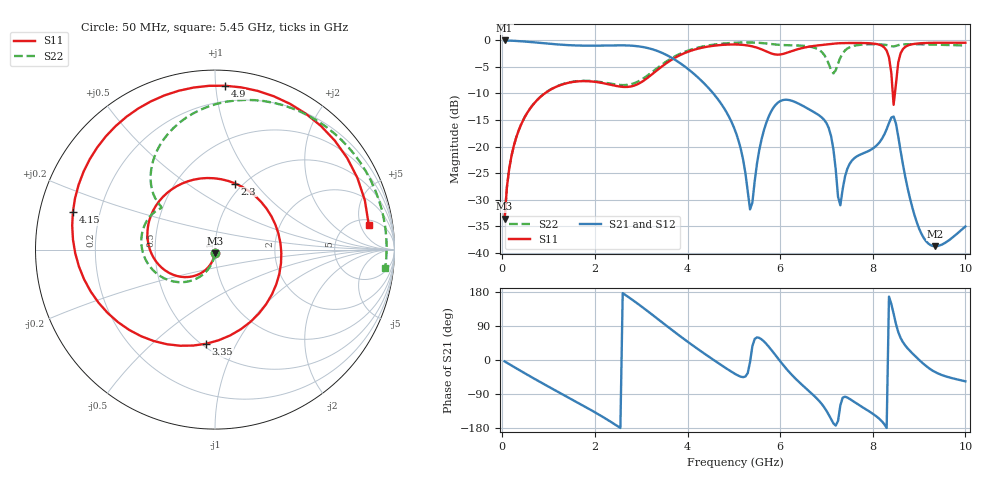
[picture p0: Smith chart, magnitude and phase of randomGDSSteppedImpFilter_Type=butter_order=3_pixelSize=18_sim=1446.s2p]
! freq	dB(S11)	phase(S11)	dB(S12)	phase(S12)
!  dB(S21)	phase(S21)	dB(S22)	phase(S22)
!S-par simulation data
#  GHz  S  DB  R 50
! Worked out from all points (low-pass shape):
!   200 points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, 50 MHz to 10 GHz, reference 50 ohm
!   highest |S21| = -0.01 dB at 50 MHz (marker M1); lowest = -38.8 dB at 9.35 GHz (marker M2)
!   |S21| within 3 dB of the highest: start of sweep to 3.603 GHz
!   lowest |S11| = -33.6 dB at 50 MHz (marker M3), VSWR 1.04, Z = 49.8 - j2.07 ohm
!   |S11| at or under -10 dB: start of sweep to 916.2 MHz; 8.432 GHz to 8.478 GHz (45.23 MHz wide, 0.535 % of centre)
!   |S22| runs from -33.6 to -0.4 dB; largest |S21 - S12| = 0
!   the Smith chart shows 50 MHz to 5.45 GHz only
!   S11 on the Smith chart (normalised r, x): 50 MHz: 1.00, -0.04; 2.3 GHz: 0.92, +0.80; 3.35 GHz: 0.53, -0.76; 4.15 GHz: 0.10, +0.13; 4.9 GHz: 0.09, +1.06; 5.45 GHz: 6.31, +6.98
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0.05  -33.62 -93.8  -0.01 -3.7  -0.01 -3.7  -33.58 -93.1
0.5  -14.22 -129.9  -0.22 -36.0  -0.22 -36.0  -14.21 -123.0
1.75  -7.67 130.4  -0.99 -120.6  -0.99 -120.6  -7.61 167.6
2.3  -8.28 72.9  -0.95 -159.8  -0.95 -159.8  -8.10 147.2
3.35  -5.57 -95.4  -1.99 108.9  -1.99 108.9  -5.19 130.6
3.4  -5.22 -102.7  -2.16 104.2  -2.16 104.2  -4.86 128.4
4.15  -1.73 165.1  -6.40 35.2  -6.40 35.2  -1.53 82.1
4.9  -0.77 86.6  -14.47 -27.2  -14.47 -27.2  -0.50 30.8
5.05  -0.77 69.0  -17.52 -38.3  -17.52 -38.3  -0.43 20.7
5.45  -1.23 9.1  -26.56 55.5  -26.56 55.5  -0.41 -6.2
5.85  -2.57 -91.8  -12.73 20.5  -12.73 20.5  -0.73 -32.0
6.2  -2.17 170.6  -11.25 -32.4  -11.25 -32.4  -0.91 -53.6
6.7  -1.07 93.8  -13.36 -90.6  -13.36 -90.6  -1.28 -96.1
7.05  -0.73 62.2  -16.53 -144.6  -16.53 -144.6  -4.44 178.2
7.2  -0.58 50.8  -24.34 -173.1  -24.34 -173.1  -5.62 64.9
7.35  -0.51 40.0  -28.04 -99.4  -28.04 -99.4  -2.44 -12.6
7.6  -0.48 23.8  -22.21 -110.7  -22.21 -110.7  -1.00 -61.4
8.35  -3.17 -39.0  -15.59 167.3  -15.59 167.3  -0.96 -117.5
8.45  -12.15 -26.2  -14.35 122.4  -14.35 122.4  -1.14 -121.0
8.55  -4.16 19.2  -18.09 73.8  -18.09 73.8  -0.89 -124.8
9.35  -0.44 -37.7  -38.79 -31.9  -38.79 -31.9  -0.80 -165.1
10  -0.44 -59.5  -35.07 -56.3  -35.07 -56.3  -0.96 162.9
